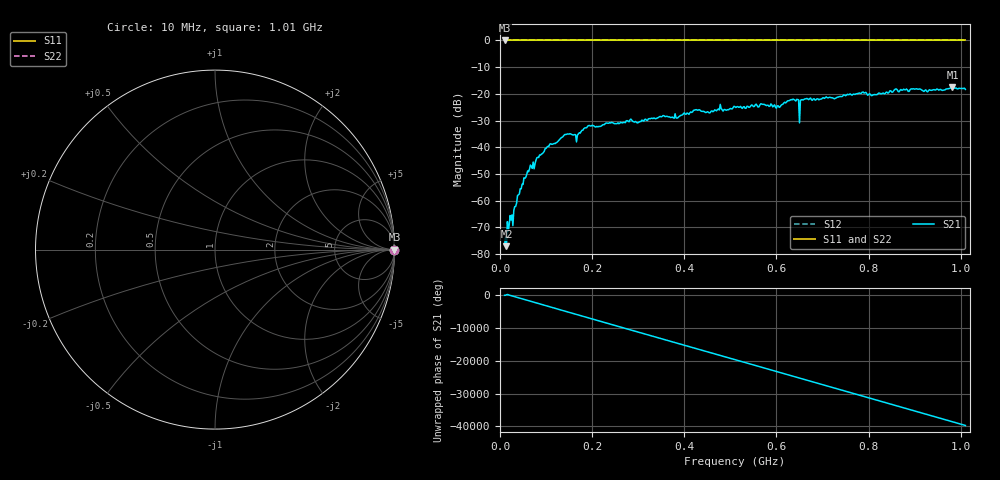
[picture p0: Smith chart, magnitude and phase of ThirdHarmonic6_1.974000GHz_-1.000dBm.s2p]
! 8/16/2025 11:44:49 PM
! C:\ANRITSUVNA\TEMP\TEMP.S2P
! CHANNEL.1
! TR.MEASUREMENT
! RAW.DATA
! RF.CORRECTION.OFF
! AVERAGING.OFF
! IF.BANDWIDTH: 5KHZ
! SWEEPTYPE:  FREQ.SWEEP(Linear)
! Reference Plane Port Info
! PORT:  PORT1  PORT2
! DISTANCE:  0  m  0  m
! TIME:  0  s  0  s
! PHASE.OFFSET:  0  deg.  0  deg.
! LOSS:  0  dB  0  dB
! REF.LOSS:  0  dB  0  dB
! REF.FREQ:  0  Hz  0  Hz
! Power Info
! POWER:  -20  dBm  -20  dBm
! EFF.POWER:  -20  dBm  -20  dBm
! SOURCE.ATTEN:  0  dB  0  dB
! TEST.ATTEN:  0  dB  0  dB
# GHZ S RI R 50.0
! FREQ.GHZ  S11RE  S11IM  S21RE  S21IM  S12RE  S12IM  S22RE  S22IM
!; PortSelection: Port_12
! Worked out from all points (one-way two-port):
!   501 points, 10 MHz to 1.01 GHz, reference 50 ohm
!   highest |S21| = -17.60 dB at 982 MHz (marker M1); lowest = -77.1 dB at 14 MHz (marker M2)
!   lowest |S11| = 0.0 dB at 10 MHz (marker M3)
!   |S11| at or under -10 dB: nowhere
!   |S22| runs from 0.0 to 0.0 dB; largest |S21 - S12| = 1.1
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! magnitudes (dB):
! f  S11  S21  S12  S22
! 10 MHz  0.0  -76.6  0.0  0.0
! 14 MHz  0.0  -77.1  0.0  0.0
! 20 MHz  0.0  -69.0  0.0  0.0
! 32 MHz  0.0  -62.3  0.0  0.0
! 42 MHz  0.0  -57.5  0.0  0.0
! 64 MHz  0.0  -48.2  0.0  0.0
! 106 MHz  0.0  -39.7  0.0  0.0
! 142 MHz  0.0  -35.2  0.0  0.0
! 166 MHz  0.0  -38.0  0.0  0.0
! 178 MHz  0.0  -33.7  0.0  0.0
! 196 MHz  0.0  -32.1  0.0  0.0
! 344 MHz  0.0  -28.9  0.0  0.0
! 510 MHz  0.0  -24.8  0.0  0.0
! 570 MHz  0.0  -23.9  0.0  0.0
! 602 MHz  0.0  -24.5  0.0  0.0
! 634 MHz  0.0  -22.2  0.0  0.0
! 654 MHz  0.0  -22.2  0.0  0.0
! 656 MHz  0.0  -22.2  0.0  0.0
! 678 MHz  0.0  -22.4  0.0  0.0
! 844 MHz  0.0  -19.5  0.0  0.0
! 982 MHz  0.0  -17.6  0.0  0.0
! 1.01 GHz  0.0  -18.3  0.0  0.0
